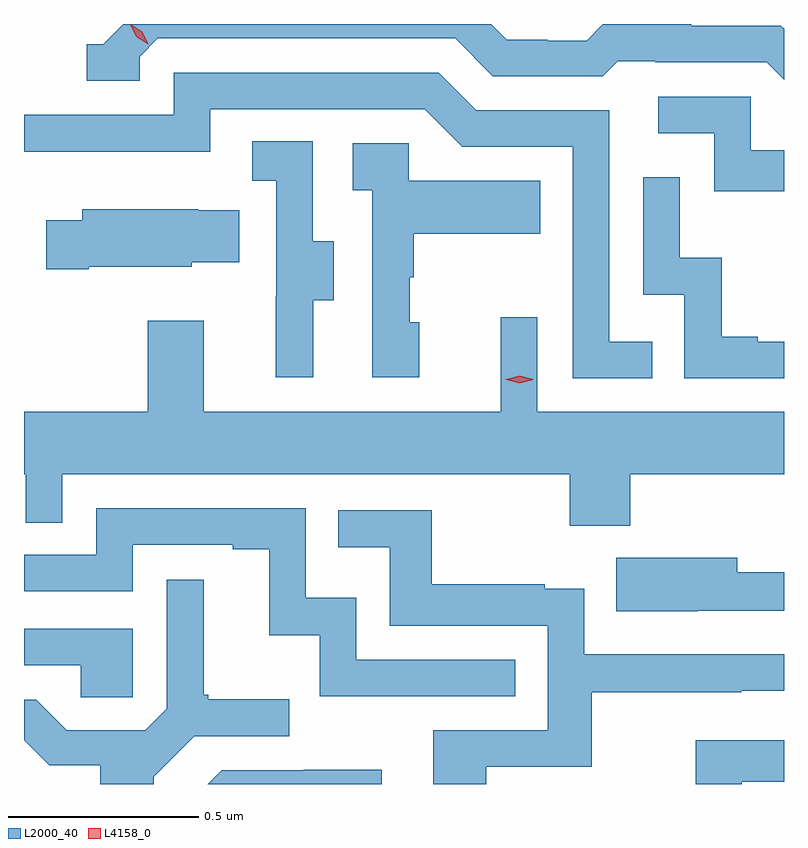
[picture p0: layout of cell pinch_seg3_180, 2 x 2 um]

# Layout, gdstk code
import gdstk
lib = gdstk.Library(unit=1e-6, precision=1e-09)
def P(c, l, *ps):  # polygons
    for p in ps: c.add(gdstk.Polygon(p, *l))
L2000_40 = (2000, 40)
L4158_0 = (4158, 0)

pinch_seg3_180 = lib.new_cell('pinch_seg3_180')
P(pinch_seg3_180, L2000_40, [(985.428,748.635),(985.476,748.683),(986.259,748.683),(986.358,748.584),(986.647,748.584),(986.686,748.623),(986.785,748.623),(986.785,748.62),(987.078,748.62),(987.124,748.574),(987.124,748.709),(987.116,748.717),(986.88,748.717),(986.88,748.72),(986.647,748.72),(986.605,748.677),(986.502,748.677),(986.502,748.68),(986.395,748.68),(986.354,748.721),(985.385,748.721),(985.332,748.668),(985.289,748.668),(985.289,748.572),(985.428,748.572)],
  [(986.777,747.885),(986.664,747.885),(986.664,748.494),(986.314,748.494),(986.215,748.593),(985.518,748.593),(985.518,748.482),(985.124,748.482),(985.124,748.385),(985.614,748.385),(985.614,748.497),(986.178,748.497),(986.277,748.398),(986.568,748.398),(986.568,747.789),(986.777,747.789)],
  [(987.124,748.389),(987.036,748.389),(987.036,748.53),(986.793,748.53),(986.793,748.434),(986.94,748.434),(986.94,748.281),(987.124,748.281)],
  [(985.885,747.994),(985.939,747.994),(985.939,748.149),(985.884,748.149),(985.884,748.412),(985.725,748.412),(985.725,748.309),(985.788,748.309),(985.788,748.005),(985.787,748.005),(985.787,747.792),(985.885,747.792)],
  [(986.164,747.936),(986.139,747.936),(986.139,748.055),(986.149,748.055),(986.149,748.169),(986.483,748.169),(986.483,748.309),(986.136,748.309),(986.136,748.407),(985.989,748.407),(985.989,748.283),(986.04,748.283),(986.04,747.792),(986.164,747.792)],
  [(987.124,747.885),(987.055,747.885),(987.055,747.898),(986.96,747.898),(986.96,748.106),(986.85,748.106),(986.85,748.318),(986.754,748.318),(986.754,748.008),(986.862,748.008),(986.862,747.789),(987.124,747.789)],
  [(985.294,748.082),(985.566,748.082),(985.566,748.094),(985.691,748.094),(985.691,748.231),(985.583,748.231),(985.583,748.234),(985.277,748.234),(985.277,748.204),(985.183,748.204),(985.183,748.075),(985.294,748.075)],
  [(986.72,747.536),(987.124,747.536),(987.124,747.7),(986.475,747.7),(986.475,747.949),(986.378,747.949),(986.378,747.7),(985.597,747.7),(985.597,747.94),(985.45,747.94),(985.45,747.7),(985.124,747.7),(985.124,747.536),(985.128,747.536),(985.128,747.409),(985.224,747.409),(985.224,747.536),(986.56,747.536),(986.56,747.401),(986.72,747.401)],
  [(986.417,747.048),(985.998,747.048),(985.998,747.211),(985.866,747.211),(985.866,747.447),(985.314,747.447),(985.314,747.324),(985.124,747.324),(985.124,747.228),(985.41,747.228),(985.41,747.351),(985.673,747.351),(985.673,747.339),(985.769,747.339),(985.769,747.113),(985.902,747.113),(985.902,746.952),(986.417,746.952)],
  [(986.341,746.766),(986.618,746.766),(986.618,746.962),(987.011,746.962),(987.011,746.967),(987.124,746.967),(987.124,747.063),(986.598,747.063),(986.598,747.235),(986.495,747.235),(986.495,747.247),(986.197,747.247),(986.197,747.441),(985.951,747.441),(985.951,747.344),(986.086,747.344),(986.086,747.138),(986.502,747.138),(986.502,746.862),(986.201,746.862),(986.201,746.721),(986.341,746.721)],
  [(986.897,747.177),(987.124,747.177),(987.124,747.278),(987.001,747.278),(987.001,747.316),(986.683,747.316),(986.683,747.176),(986.897,747.176)],
  [(985.465,746.74),(985.572,746.847),(985.822,746.847),(985.822,746.944),(985.609,746.944),(985.609,746.956),(985.597,746.956),(985.597,747.259),(985.5,747.259),(985.5,746.919),(985.443,746.862),(985.237,746.862),(985.156,746.943),(985.124,746.943),(985.124,746.836),(985.19,746.77),(985.325,746.77),(985.325,746.721),(985.465,746.721)],
  [(985.41,747.129),(985.124,747.129),(985.124,747.033),(985.273,747.033),(985.273,746.949),(985.41,746.949)],
  [(987.013,746.727),(987.124,746.727),(987.124,746.836),(986.892,746.836),(986.892,746.721),(987.013,746.721)],
  [(986.065,746.759),(985.86,746.759),(985.86,746.757),(985.644,746.757),(985.608,746.721),(986.065,746.721)])
P(pinch_seg3_180, L4158_0, [(985.451,748.668),(985.42,748.688),(985.404,748.72),(985.404,748.72),(985.404,748.72),(985.435,748.701),(985.451,748.669),(985.451,748.668)],
  [(986.428,747.776),(986.393,747.785),(986.392,747.786),(986.393,747.786),(986.428,747.796),(986.464,747.786),(986.464,747.786),(986.464,747.785)])

lib.write_gds('pinch_seg3_180.gds')
